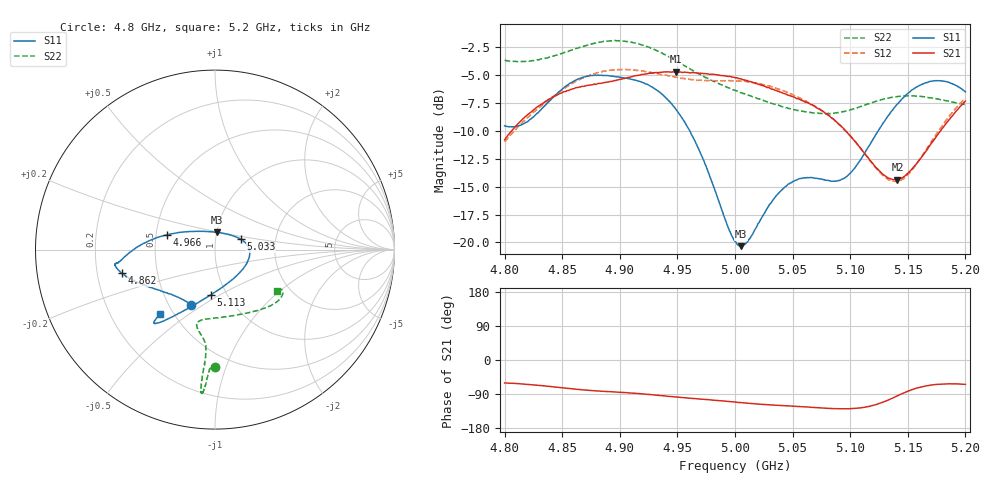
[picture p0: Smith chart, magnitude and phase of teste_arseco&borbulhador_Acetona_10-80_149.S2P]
! Network Analyzer HP8722D
! Hewlett-Packard
! Data name: Linha & Wilkinson
! Saver's name: Rodrigo Anjos
! Comments: Teste da utilização de aquisição
! continua pelo VNA HP8722D
! Time and date: 17/4/2025 15:36
!  Frequency  S11  S21  S12  S22
# HZ  S  MA R 50
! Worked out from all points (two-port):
!   401 points, 4.8 GHz to 5.2 GHz, reference 50 ohm
!   highest |S21| = -4.67 dB at 4.949 GHz (marker M1); lowest = -14.4 dB at 5.141 GHz (marker M2)
!   |S21| within 3 dB of the highest: 4.831 GHz to 5.067 GHz (236.6 MHz wide, 4.78 % of centre); 5.196696 GHz to end of sweep
!   lowest |S11| = -20.3 dB at 5.005 GHz (marker M3), VSWR 1.21, Z = 50.1 + j9.67 ohm
!   |S11| at or under -10 dB: 4.961 GHz to 5.124 GHz (163.4 MHz wide, 3.24 % of centre)
!   |S22| runs from -8.5 to -1.9 dB; largest |S21 - S12| = 0.88
!   S11 on the Smith chart (normalised r, x): 4.8 GHz: 0.65, -0.45; 4.862 GHz: 0.31, -0.11; 4.966 GHz: 0.57, +0.10; 5.033 GHz: 1.33, +0.16; 5.113 GHz: 0.84, -0.45; 5.2 GHz: 0.42, -0.39
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4.8e9  0.3336 -113.3  0.2889 -60.8  0.2829 -174.9  0.6565 -90.1
4.819e9  0.3466 -133.4  0.3707 -64.1  0.3585 -173.6  0.6511 -91.6
4.862e9  0.5356 -165.7  0.4951 -77.2  0.5293 -176.8  0.7424 -93.8
4.867e9  0.5481 -167.7  0.5019 -78.6  0.5441 -177.8  0.7566 -94.0
4.9e9  0.5516 -172.1  0.5387 -85.2  0.5961 175.7  0.8034 -95.3
4.934e9  0.4751 -178.2  0.5786 -93.4  0.5715 171.8  0.7175 -95.7
4.949e9  0.3939 174.7  0.5839 -97.5  0.5513 172.2  0.6522 -95.4
4.966e9  0.2792 162.8  0.576 -101.9  0.5348 173.8  0.5801 -95.1
5e9  0.1011 101.3  0.5487 -111.1  0.5316 176.2  0.4811 -99.2
5.005e9  0.09617 83.7  0.5423 -112.3  0.529 176.1  0.4701 -100.3
5.013e9  0.1041 58.2  0.5272 -114.6  0.5223 175.8  0.4545 -101.9
5.033e9  0.155 21.8  0.4868 -118.7  0.4978 174.8  0.4187 -103.6
5.048e9  0.1849 6.2  0.4546 -121.4  0.4659 174.2  0.3981 -100.2
5.067e9  0.1952 -13.9  0.4145 -124.9  0.4164 173.8  0.3817 -90.6
5.093e9  0.1923 -58.1  0.3288 -128.7  0.3284 174.1  0.3854 -70.6
5.113e9  0.2538 -95.5  0.2487 -124.4  0.2486 -180.0  0.4139 -55.0
5.134e9  0.3755 -116.4  0.1939 -104.2  0.1902 -157.2  0.4455 -42.9
5.141e9  0.4181 -120.3  0.1912 -94.4  0.1882 -146.2  0.4513 -39.9
5.153e9  0.4808 -125.2  0.2116 -78.9  0.2094 -128.3  0.4543 -35.7
5.17e9  0.5283 -128.9  0.2759 -66.1  0.2807 -112.3  0.4458 -32.0
5.184e9  0.5256 -130.1  0.3462 -63.0  0.3574 -107.3  0.4322 -30.9
5.2e9  0.4741 -130.5  0.4307 -64.3  0.4427 -106.5  0.4149 -33.3
